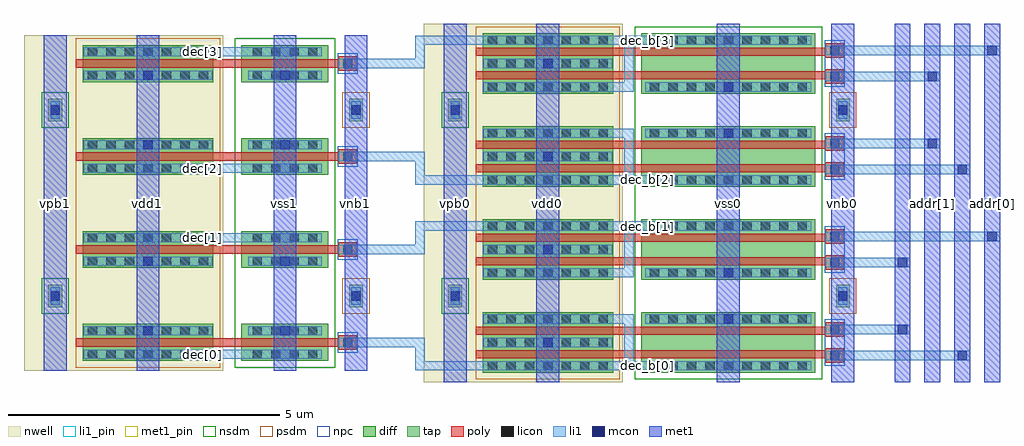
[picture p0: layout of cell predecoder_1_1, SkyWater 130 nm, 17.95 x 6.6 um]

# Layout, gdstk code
from math import pi, radians
import gdstk
lib = gdstk.Library(unit=1e-6, precision=1e-09)
def R(c, l, rs):  # rectangles x0, y0, x1, y1
    for r in rs: c.add(gdstk.rectangle(r[:2], r[2:], *l))
def A(c, l, x, y, w, h, nx, ny, dx, dy):  # array of equal rectangles
    R(c, l, [(x+i*dx, y+j*dy, x+i*dx+w, y+j*dy+h) for i in range(nx) for j in range(ny)])
nwell = (64, 20)
diff = (65, 20)
tap = (65, 44)
poly = (66, 20)
licon = (66, 44)
li1_pin = (67, 16)
li1 = (67, 20)
mcon = (67, 44)
met1_pin = (68, 16)
met1 = (68, 20)
nsdm = (93, 44)
psdm = (94, 20)
npc = (95, 20)

ntap_1x1v = lib.new_cell('ntap_1x1v')
R(ntap_1x1v, tap, [(-0.04,-0.12,0.21,0.29)])
R(ntap_1x1v, licon, [(0,0,0.17,0.17)])
R(ntap_1x1v, li1, [(0,-0.08,0.17,0.25)])
R(ntap_1x1v, nsdm, [(-0.165,-0.245,0.335,0.415)])

ptap_1x1v = lib.new_cell('ptap_1x1v')
R(ptap_1x1v, tap, [(-0.04,-0.12,0.21,0.29)])
R(ptap_1x1v, licon, [(0,0,0.17,0.17)])
R(ptap_1x1v, li1, [(0,-0.08,0.17,0.25)])
R(ptap_1x1v, psdm, [(-0.165,-0.245,0.335,0.415)])

viali_1x1v = lib.new_cell('viali_1x1v')
R(viali_1x1v, li1, [(0,0,0.17,0.17)])
R(viali_1x1v, mcon, [(0,0,0.17,0.17)])
R(viali_1x1v, met1, [(-0.03,-0.06,0.2,0.23)])

viali_1x1h = lib.new_cell('viali_1x1h')
R(viali_1x1h, li1, [(0,0,0.17,0.17)])
R(viali_1x1h, mcon, [(0,0,0.17,0.17)])
R(viali_1x1h, met1, [(-0.06,-0.03,0.23,0.2)])

predecoder_1_1_and_array = lib.new_cell('predecoder_1_1_and_array_nand_array_route')
R(predecoder_1_1_and_array, met1, [(-0.715,-0.18,-0.295,6.42), (1.39,-0.18,1.81,6.42), (4.71,-0.18,5.13,6.42), (6.415,-0.18,6.835,6.42)])
predecoder_1_1_and_array.add(gdstk.Reference(viali_1x1v, (6.54,1.325)))
predecoder_1_1_and_array.add(gdstk.Reference(viali_1x1v, (6.54,4.745)))
predecoder_1_1_and_array.add(gdstk.Reference(viali_1x1v, (-0.59,1.325)))
predecoder_1_1_and_array.add(gdstk.Reference(viali_1x1v, (-0.59,4.745)))
predecoder_1_1_and_array.add(gdstk.Reference(viali_1x1h, (4.835,0.47)))
predecoder_1_1_and_array.add(gdstk.Reference(viali_1x1h, (4.835,2.18)))
predecoder_1_1_and_array.add(gdstk.Reference(viali_1x1h, (4.835,3.89)))
predecoder_1_1_and_array.add(gdstk.Reference(viali_1x1h, (4.835,5.6)))
predecoder_1_1_and_array.add(gdstk.Reference(viali_1x1h, (1.515,0.9)))
predecoder_1_1_and_array.add(gdstk.Reference(viali_1x1h, (1.515,1.75)))
predecoder_1_1_and_array.add(gdstk.Reference(viali_1x1h, (1.515,4.32)))
predecoder_1_1_and_array.add(gdstk.Reference(viali_1x1h, (1.515,5.17)))

polyc_1x1h = lib.new_cell('polyc_1x1h')
R(polyc_1x1h, poly, [(-0.08,-0.05,0.25,0.22)])
R(polyc_1x1h, licon, [(0,0,0.17,0.17)])
R(polyc_1x1h, li1, [(-0.08,0,0.25,0.17)])
R(polyc_1x1h, npc, [(-0.1,-0.1,0.27,0.27)])

ndiffc_1x9h = lib.new_cell('ndiffc_1x9h')
R(ndiffc_1x9h, diff, [(-0.06,-0.04,2.95,0.21)])
A(ndiffc_1x9h, licon, 0, 0, 0.17, 0.17, 9, 1, 0.34, 0)
R(ndiffc_1x9h, li1, [(-0.08,0,2.97,0.17)])
R(ndiffc_1x9h, nsdm, [(-0.185,-0.165,3.075,0.335)])

pdiffc_1x7h = lib.new_cell('pdiffc_1x7h')
R(pdiffc_1x7h, nwell, [(-0.24,-0.22,2.45,0.39)])
R(pdiffc_1x7h, diff, [(-0.06,-0.04,2.27,0.21)])
A(pdiffc_1x7h, licon, 0, 0, 0.17, 0.17, 7, 1, 0.34, 0)
R(pdiffc_1x7h, li1, [(-0.08,0,2.29,0.17)])
R(pdiffc_1x7h, psdm, [(-0.185,-0.165,2.395,0.335)])

ptx__nmos_svt_3200_150_2 = lib.new_cell('ptx__nmos_svt_3200_150_2__pmos_svt_2400_150_2')
R(ptx__nmos_svt_3200_150_2, nwell, [(3.54,-0.18,6.3,1.29)])
R(ptx__nmos_svt_3200_150_2, diff, [(0,0,3.2,1.11), (3.72,0,6.12,1.11)])
R(ptx__nmos_svt_3200_150_2, poly, [(-0.19,0.265,6.25,0.415), (-0.19,0.695,6.25,0.845)])
R(ptx__nmos_svt_3200_150_2, nsdm, [(-0.125,-0.125,3.325,1.235)])
R(ptx__nmos_svt_3200_150_2, psdm, [(3.595,-0.125,6.245,1.235)])
R(ptx__nmos_svt_3200_150_2, npc, [(-0.54,0.13,-0.17,0.98)])
ptx__nmos_svt_3200_150_2.add(gdstk.Reference(polyc_1x1h, (-0.44,0.23)))
ptx__nmos_svt_3200_150_2.add(gdstk.Reference(polyc_1x1h, (-0.44,0.71)))
ptx__nmos_svt_3200_150_2.add(gdstk.Reference(ndiffc_1x9h, (0.155,0.04)))
ptx__nmos_svt_3200_150_2.add(gdstk.Reference(pdiffc_1x7h, (3.815,0.04)))
ptx__nmos_svt_3200_150_2.add(gdstk.Reference(pdiffc_1x7h, (3.815,0.47)))
ptx__nmos_svt_3200_150_2.add(gdstk.Reference(ndiffc_1x9h, (0.155,0.9)))
ptx__nmos_svt_3200_150_2.add(gdstk.Reference(pdiffc_1x7h, (3.815,0.9)))

predecoder_1_nand_1 = lib.new_cell('predecoder_1_nand_1')
R(predecoder_1_nand_1, li1, [(3.345,0.04,3.515,1.07), (3.345,0.04,6.105,0.21), (0.075,0.9,6.105,1.07)])
predecoder_1_nand_1.add(gdstk.Reference(ptx__nmos_svt_3200_150_2, (0,0)))

c_predecoder_1_1_and_array = lib.new_cell('predecoder_1_1_and_array_nand_array_array')
c_predecoder_1_1_and_array.add(gdstk.Reference(predecoder_1_nand_1, (0,1.11), x_reflection=True))
c_predecoder_1_1_and_array.add(gdstk.Reference(predecoder_1_nand_1, (0,1.71)))
c_predecoder_1_1_and_array.add(gdstk.Reference(predecoder_1_nand_1, (0,4.53), x_reflection=True))
c_predecoder_1_1_and_array.add(gdstk.Reference(predecoder_1_nand_1, (0,5.13)))

c_predecoder_1_1_and_array_ = lib.new_cell('predecoder_1_1_and_array_nand_array')
R(c_predecoder_1_1_and_array_, nwell, [(3.54,-0.18,7.2,6.42)])
R(c_predecoder_1_1_and_array_, met1_pin, [(-0.715,-0.18,-0.295,6.42), (1.39,-0.18,1.81,6.42), (4.71,-0.18,5.13,6.42), (6.415,-0.18,6.835,6.42)])
R(c_predecoder_1_1_and_array_, nsdm, [(-0.125,-0.125,3.325,6.365)])
R(c_predecoder_1_1_and_array_, psdm, [(3.595,-0.125,6.245,6.365)])
c_predecoder_1_1_and_array_.add(gdstk.Reference(ntap_1x1v, (6.54,1.325)))
c_predecoder_1_1_and_array_.add(gdstk.Reference(ntap_1x1v, (6.54,4.745)))
c_predecoder_1_1_and_array_.add(gdstk.Reference(ptap_1x1v, (-0.59,1.325)))
c_predecoder_1_1_and_array_.add(gdstk.Reference(ptap_1x1v, (-0.59,4.745)))
c_predecoder_1_1_and_array_.add(gdstk.Reference(predecoder_1_1_and_array, (0,0)))
c_predecoder_1_1_and_array_.add(gdstk.Reference(c_predecoder_1_1_and_array, (0,0)))
c_predecoder_1_1_and_array_.add(gdstk.Label('vpb', (6.625,3.12), layer=68, texttype=16))
c_predecoder_1_1_and_array_.add(gdstk.Label('vnb', (-0.505,3.12), layer=68, texttype=16))
c_predecoder_1_1_and_array_.add(gdstk.Label('vdd', (4.92,3.12), layer=68, texttype=16))
c_predecoder_1_1_and_array_.add(gdstk.Label('vss', (1.6,3.12), layer=68, texttype=16))

c_predecoder_1_1_and_array__ = lib.new_cell('predecoder_1_1_and_array_inv_array_route')
R(c_predecoder_1_1_and_array__, met1, [(-0.715,-0.18,-0.295,5.99), (0.59,-0.18,1.01,5.99), (3.11,-0.18,3.53,5.99), (4.815,-0.18,5.235,5.99)])
c_predecoder_1_1_and_array__.add(gdstk.Reference(viali_1x1v, (4.94,1.11)))
c_predecoder_1_1_and_array__.add(gdstk.Reference(viali_1x1v, (4.94,4.53)))
c_predecoder_1_1_and_array__.add(gdstk.Reference(viali_1x1v, (-0.59,1.11)))
c_predecoder_1_1_and_array__.add(gdstk.Reference(viali_1x1v, (-0.59,4.53)))
c_predecoder_1_1_and_array__.add(gdstk.Reference(viali_1x1h, (3.235,0.47)))
c_predecoder_1_1_and_array__.add(gdstk.Reference(viali_1x1h, (3.235,1.75)))
c_predecoder_1_1_and_array__.add(gdstk.Reference(viali_1x1h, (3.235,3.89)))
c_predecoder_1_1_and_array__.add(gdstk.Reference(viali_1x1h, (3.235,5.17)))
c_predecoder_1_1_and_array__.add(gdstk.Reference(viali_1x1h, (0.715,0.47)))
c_predecoder_1_1_and_array__.add(gdstk.Reference(viali_1x1h, (0.715,1.75)))
c_predecoder_1_1_and_array__.add(gdstk.Reference(viali_1x1h, (0.715,3.89)))
c_predecoder_1_1_and_array__.add(gdstk.Reference(viali_1x1h, (0.715,5.17)))

ndiffc_1x4h = lib.new_cell('ndiffc_1x4h')
R(ndiffc_1x4h, diff, [(-0.06,-0.04,1.25,0.21)])
A(ndiffc_1x4h, licon, 0, 0, 0.17, 0.17, 4, 1, 0.34, 0)
R(ndiffc_1x4h, li1, [(-0.08,0,1.27,0.17)])
R(ndiffc_1x4h, nsdm, [(-0.185,-0.165,1.375,0.335)])

ptx__nmos_svt_1600_150_1 = lib.new_cell('ptx__nmos_svt_1600_150_1__pmos_svt_2400_150_1')
R(ptx__nmos_svt_1600_150_1, nwell, [(1.94,-0.18,4.7,0.86)])
R(ptx__nmos_svt_1600_150_1, diff, [(0,0,1.6,0.68), (2.12,0,4.52,0.68)])
R(ptx__nmos_svt_1600_150_1, poly, [(-0.19,0.265,4.65,0.415)])
R(ptx__nmos_svt_1600_150_1, nsdm, [(-0.125,-0.125,1.725,0.805)])
R(ptx__nmos_svt_1600_150_1, psdm, [(1.995,-0.125,4.645,0.805)])
R(ptx__nmos_svt_1600_150_1, npc, [(-0.54,0.155,-0.17,0.525)])
ptx__nmos_svt_1600_150_1.add(gdstk.Reference(polyc_1x1h, (-0.44,0.255)))
ptx__nmos_svt_1600_150_1.add(gdstk.Reference(ndiffc_1x4h, (0.205,0.04)))
ptx__nmos_svt_1600_150_1.add(gdstk.Reference(pdiffc_1x7h, (2.215,0.04)))
ptx__nmos_svt_1600_150_1.add(gdstk.Reference(ndiffc_1x4h, (0.205,0.47)))
ptx__nmos_svt_1600_150_1.add(gdstk.Reference(pdiffc_1x7h, (2.215,0.47)))

predecoder_1_inv_1 = lib.new_cell('predecoder_1_inv_1')
R(predecoder_1_inv_1, li1, [(0.125,0.47,4.505,0.64)])
predecoder_1_inv_1.add(gdstk.Reference(ptx__nmos_svt_1600_150_1, (0,0)))

c_predecoder_1_1_and_array___ = lib.new_cell('predecoder_1_1_and_array_inv_array_array')
c_predecoder_1_1_and_array___.add(gdstk.Reference(predecoder_1_inv_1, (0,0.68), x_reflection=True))
c_predecoder_1_1_and_array___.add(gdstk.Reference(predecoder_1_inv_1, (0,1.71)))
c_predecoder_1_1_and_array___.add(gdstk.Reference(predecoder_1_inv_1, (0,4.1), x_reflection=True))
c_predecoder_1_1_and_array___.add(gdstk.Reference(predecoder_1_inv_1, (0,5.13)))

c_predecoder_1_1_and_array____ = lib.new_cell('predecoder_1_1_and_array_inv_array')
R(c_predecoder_1_1_and_array____, nwell, [(1.94,-0.18,5.6,5.99)])
R(c_predecoder_1_1_and_array____, met1_pin, [(-0.715,-0.18,-0.295,5.99), (0.59,-0.18,1.01,5.99), (3.11,-0.18,3.53,5.99), (4.815,-0.18,5.235,5.99)])
R(c_predecoder_1_1_and_array____, nsdm, [(-0.125,-0.125,1.725,5.935)])
R(c_predecoder_1_1_and_array____, psdm, [(1.995,-0.125,4.645,5.935)])
c_predecoder_1_1_and_array____.add(gdstk.Reference(ntap_1x1v, (4.94,1.11)))
c_predecoder_1_1_and_array____.add(gdstk.Reference(ntap_1x1v, (4.94,4.53)))
c_predecoder_1_1_and_array____.add(gdstk.Reference(ptap_1x1v, (-0.59,1.11)))
c_predecoder_1_1_and_array____.add(gdstk.Reference(ptap_1x1v, (-0.59,4.53)))
c_predecoder_1_1_and_array____.add(gdstk.Reference(c_predecoder_1_1_and_array__, (0,0)))
c_predecoder_1_1_and_array____.add(gdstk.Reference(c_predecoder_1_1_and_array___, (0,0)))
c_predecoder_1_1_and_array____.add(gdstk.Label('vpb', (5.025,2.905), layer=68, texttype=16))
c_predecoder_1_1_and_array____.add(gdstk.Label('vnb', (-0.505,2.905), layer=68, texttype=16))
c_predecoder_1_1_and_array____.add(gdstk.Label('vdd', (3.32,2.905), layer=68, texttype=16))
c_predecoder_1_1_and_array____.add(gdstk.Label('vss', (0.8,2.905), layer=68, texttype=16))

c_predecoder_1_1_and_array_____ = lib.new_cell('predecoder_1_1_and_array_route')
A(c_predecoder_1_1_and_array_____, li1, 7.355, 0.47, 1.08, 0.17, 1, 4, 0, 1.71)
R(c_predecoder_1_1_and_array_____, li1, [(0.075,0.04,6.105,0.21), (6.105,0.04,7.185,0.21), (7.185,0.04,7.355,0.64), (7.185,2.18,7.355,2.78), (0.075,2.61,6.105,2.78), (6.105,2.61,7.185,2.78), (0.075,3.46,6.105,3.63), (6.105,3.46,7.185,3.63), (7.185,3.46,7.355,4.06), (7.185,5.6,7.355,6.2), (0.075,6.03,6.105,6.2), (6.105,6.03,7.185,6.2)])

c_predecoder_1_1_and_array______ = lib.new_cell('predecoder_1_1_and_array')
R(c_predecoder_1_1_and_array______, li1_pin, [(0.075,0.04,6.105,0.21), (-0.52,0.23,-0.19,0.4), (9.08,0.255,13.46,0.425), (-0.52,0.71,-0.19,0.88), (-0.52,1.94,-0.19,2.11), (9.08,2.395,13.46,2.565), (-0.52,2.42,-0.19,2.59), (0.075,2.61,6.105,2.78), (0.075,3.46,6.105,3.63), (-0.52,3.65,-0.19,3.82), (9.08,3.675,13.46,3.845), (-0.52,4.13,-0.19,4.3), (-0.52,5.36,-0.19,5.53), (9.08,5.815,13.46,5.985), (-0.52,5.84,-0.19,6.01), (0.075,6.03,6.105,6.2)])
R(c_predecoder_1_1_and_array______, met1_pin, [(-0.715,-0.18,-0.295,6.42), (1.39,-0.18,1.81,6.42), (4.71,-0.18,5.13,6.42), (6.415,-0.18,6.835,6.42), (8.24,0.035,8.66,6.205), (9.545,0.035,9.965,6.205), (12.065,0.035,12.485,6.205), (13.77,0.035,14.19,6.205)])
c_predecoder_1_1_and_array______.add(gdstk.Reference(c_predecoder_1_1_and_array_, (0,0)))
c_predecoder_1_1_and_array______.add(gdstk.Reference(c_predecoder_1_1_and_array____, (8.955,0.215)))
c_predecoder_1_1_and_array______.add(gdstk.Reference(c_predecoder_1_1_and_array_____, (0,0)))
c_predecoder_1_1_and_array______.add(gdstk.Label('a[0]', (-0.355,0.795), layer=67, texttype=16))
c_predecoder_1_1_and_array______.add(gdstk.Label('b[0]', (-0.355,0.315), layer=67, texttype=16))
c_predecoder_1_1_and_array______.add(gdstk.Label('y_b[0]', (3.09,0.125), layer=67, texttype=16))
c_predecoder_1_1_and_array______.add(gdstk.Label('y[0]', (11.27,0.34), layer=67, texttype=16))
c_predecoder_1_1_and_array______.add(gdstk.Label('a[1]', (-0.355,2.025), layer=67, texttype=16))
c_predecoder_1_1_and_array______.add(gdstk.Label('b[1]', (-0.355,2.505), layer=67, texttype=16))
c_predecoder_1_1_and_array______.add(gdstk.Label('y_b[1]', (3.09,2.695), layer=67, texttype=16))
c_predecoder_1_1_and_array______.add(gdstk.Label('y[1]', (11.27,2.48), layer=67, texttype=16))
c_predecoder_1_1_and_array______.add(gdstk.Label('a[2]', (-0.355,4.215), layer=67, texttype=16))
c_predecoder_1_1_and_array______.add(gdstk.Label('b[2]', (-0.355,3.735), layer=67, texttype=16))
c_predecoder_1_1_and_array______.add(gdstk.Label('y_b[2]', (3.09,3.545), layer=67, texttype=16))
c_predecoder_1_1_and_array______.add(gdstk.Label('y[2]', (11.27,3.76), layer=67, texttype=16))
c_predecoder_1_1_and_array______.add(gdstk.Label('a[3]', (-0.355,5.445), layer=67, texttype=16))
c_predecoder_1_1_and_array______.add(gdstk.Label('b[3]', (-0.355,5.925), layer=67, texttype=16))
c_predecoder_1_1_and_array______.add(gdstk.Label('y_b[3]', (3.09,6.115), layer=67, texttype=16))
c_predecoder_1_1_and_array______.add(gdstk.Label('y[3]', (11.27,5.9), layer=67, texttype=16))
c_predecoder_1_1_and_array______.add(gdstk.Label('vdd0', (4.92,3.12), layer=68, texttype=16))
c_predecoder_1_1_and_array______.add(gdstk.Label('vss0', (1.6,3.12), layer=68, texttype=16))
c_predecoder_1_1_and_array______.add(gdstk.Label('vnb0', (-0.505,3.12), layer=68, texttype=16))
c_predecoder_1_1_and_array______.add(gdstk.Label('vpb0', (6.625,3.12), layer=68, texttype=16))
c_predecoder_1_1_and_array______.add(gdstk.Label('vdd1', (12.275,3.12), layer=68, texttype=16))
c_predecoder_1_1_and_array______.add(gdstk.Label('vss1', (9.755,3.12), layer=68, texttype=16))
c_predecoder_1_1_and_array______.add(gdstk.Label('vnb1', (8.45,3.12), layer=68, texttype=16))
c_predecoder_1_1_and_array______.add(gdstk.Label('vpb1', (13.98,3.12), layer=68, texttype=16))

predecoder_1_1_route = lib.new_cell('predecoder_1_1_route')
R(predecoder_1_1_route, li1, [(13.99,0.23,14.32,0.4), (14.07,0.23,16.645,0.4), (13.99,0.71,14.32,0.88), (14.07,0.71,15.545,0.88), (13.99,1.94,14.32,2.11), (14.07,1.94,15.545,2.11), (13.99,2.42,14.32,2.59), (14.07,2.42,17.195,2.59), (13.99,3.65,14.32,3.82), (14.07,3.65,16.645,3.82), (13.99,4.13,14.32,4.3), (14.07,4.13,16.095,4.3), (13.99,5.36,14.32,5.53), (14.07,5.36,16.095,5.53), (13.99,5.84,14.32,6.01), (14.07,5.84,17.195,6.01)])
A(predecoder_1_1_route, met1, 15.255, -0.18, 0.29, 6.6, 4, 1, 0.55, 0)
predecoder_1_1_route.add(gdstk.Reference(viali_1x1h, (15.315,0.71)))
predecoder_1_1_route.add(gdstk.Reference(viali_1x1h, (16.415,0.23)))
predecoder_1_1_route.add(gdstk.Reference(viali_1x1h, (15.315,1.94)))
predecoder_1_1_route.add(gdstk.Reference(viali_1x1h, (16.965,2.42)))
predecoder_1_1_route.add(gdstk.Reference(viali_1x1h, (15.865,4.13)))
predecoder_1_1_route.add(gdstk.Reference(viali_1x1h, (16.415,3.65)))
predecoder_1_1_route.add(gdstk.Reference(viali_1x1h, (15.865,5.36)))
predecoder_1_1_route.add(gdstk.Reference(viali_1x1h, (16.965,5.84)))

predecoder_1_1 = lib.new_cell('predecoder_1_1')
R(predecoder_1_1, li1_pin, [(7.695,0.04,13.725,0.21), (0.34,0.255,4.72,0.425), (0.34,2.395,4.72,2.565), (7.695,2.61,13.725,2.78), (7.695,3.46,13.725,3.63), (0.34,3.675,4.72,3.845), (0.34,5.815,4.72,5.985), (7.695,6.03,13.725,6.2)])
A(predecoder_1_1, met1_pin, 15.255, -0.18, 0.29, 6.6, 4, 1, 0.55, 0)
R(predecoder_1_1, met1_pin, [(6.965,-0.18,7.385,6.42), (8.67,-0.18,9.09,6.42), (11.99,-0.18,12.41,6.42), (14.095,-0.18,14.515,6.42), (-0.39,0.035,0.03,6.205), (1.315,0.035,1.735,6.205), (3.835,0.035,4.255,6.205), (5.14,0.035,5.56,6.205)])
predecoder_1_1.add(gdstk.Reference(c_predecoder_1_1_and_array______, (13.8,0), rotation=pi, x_reflection=True))
predecoder_1_1.add(gdstk.Reference(predecoder_1_1_route, (0,0)))
predecoder_1_1.add(gdstk.Label('dec[0]', (2.53,0.34), layer=67, texttype=16))
predecoder_1_1.add(gdstk.Label('dec_b[0]', (10.71,0.125), layer=67, texttype=16))
predecoder_1_1.add(gdstk.Label('dec[1]', (2.53,2.48), layer=67, texttype=16))
predecoder_1_1.add(gdstk.Label('dec_b[1]', (10.71,2.695), layer=67, texttype=16))
predecoder_1_1.add(gdstk.Label('dec[2]', (2.53,3.76), layer=67, texttype=16))
predecoder_1_1.add(gdstk.Label('dec_b[2]', (10.71,3.545), layer=67, texttype=16))
predecoder_1_1.add(gdstk.Label('dec[3]', (2.53,5.9), layer=67, texttype=16))
predecoder_1_1.add(gdstk.Label('dec_b[3]', (10.71,6.115), layer=67, texttype=16))
predecoder_1_1.add(gdstk.Label('addr[0]', (17.05,3.12), layer=68, texttype=16))
predecoder_1_1.add(gdstk.Label('addr_b[0]', (16.5,3.12), layer=68, texttype=16))
predecoder_1_1.add(gdstk.Label('addr[1]', (15.95,3.12), layer=68, texttype=16))
predecoder_1_1.add(gdstk.Label('addr_b[1]', (15.4,3.12), layer=68, texttype=16))
predecoder_1_1.add(gdstk.Label('vpb0', (7.175,3.12), layer=68, texttype=16))
predecoder_1_1.add(gdstk.Label('vpb1', (-0.18,3.12), layer=68, texttype=16))
predecoder_1_1.add(gdstk.Label('vnb0', (14.305,3.12), layer=68, texttype=16))
predecoder_1_1.add(gdstk.Label('vnb1', (5.35,3.12), layer=68, texttype=16))
predecoder_1_1.add(gdstk.Label('vdd0', (8.88,3.12), layer=68, texttype=16))
predecoder_1_1.add(gdstk.Label('vdd1', (1.525,3.12), layer=68, texttype=16))
predecoder_1_1.add(gdstk.Label('vss0', (12.2,3.12), layer=68, texttype=16))
predecoder_1_1.add(gdstk.Label('vss1', (4.045,3.12), layer=68, texttype=16))

lib.write_gds('predecoder_1_1.gds')
